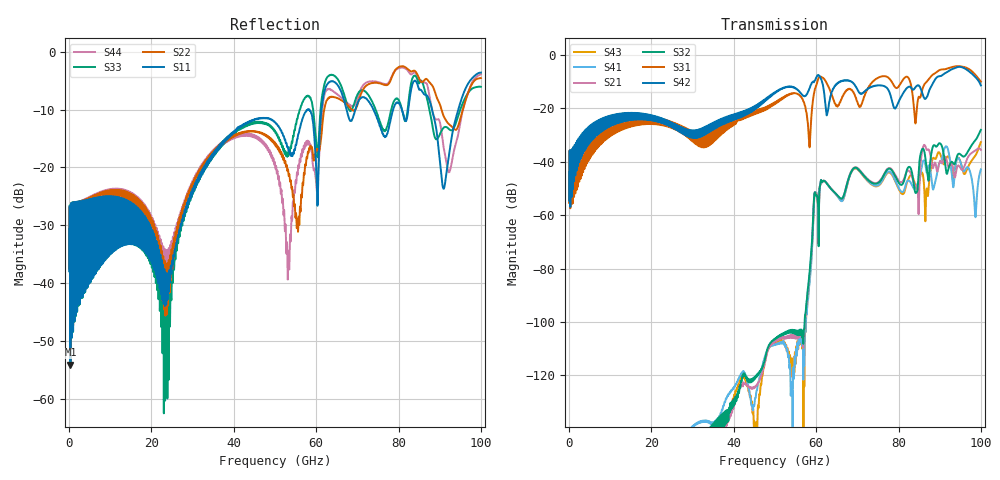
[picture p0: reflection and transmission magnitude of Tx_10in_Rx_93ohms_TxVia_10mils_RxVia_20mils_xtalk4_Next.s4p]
! Info: Touchstone file created by Circ.  Input file=Tx_10in_Rx_93ohms_TxVia_10mils_RxVia_20mils.circ
# Hz S RI R 50
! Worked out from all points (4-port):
!   10000 points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, 10 MHz to 100 GHz, reference 50 ohm
!   strongest paths, dB at 10 MHz, 25.01 GHz, 50.01 GHz, 75.01 GHz, 100 GHz:
!     S42: -54.6, -26.4, -14.0, -11.4, -11.4
!     S31: -55.4, -26.6, -17.9, -8.6, -10.0
!     S32: -, -153.6, -106.4, -48.0, -28.1
!     S21: -, -168.5, -107.3, -47.7, -35.5
!     S41: -154.6, -153.0, -108.5, -48.8, -42.9
!     S43: -155.4, -160.2, -108.2, -49.1, -32.7
!   lowest |S11| = -54.0 dB at 320 MHz (marker M1), VSWR 1.00, Z = 49.8 + j0.0251 ohm
!   |S11| at or under -10 dB: start of sweep to 57.92 GHz; 73.93 GHz to 78.69 GHz (4.755 GHz wide, 6.23 % of centre); 88.13 GHz to 94.51 GHz (6.38 GHz wide, 6.99 % of centre)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
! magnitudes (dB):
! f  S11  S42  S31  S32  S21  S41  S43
! 10 MHz  -37.9  -54.6  -55.4  -  -  -154.6  -155.4
! 320 MHz  -54.0  -47.2  -47.3  -  -  -  -
! 23.75 GHz  -38.4  -26.1  -26.7  -158.5  -180.9  -158.9  -162.3
! 32.68 GHz  -20.5  -29.4  -31.8  -142.2  -150.7  -137.4  -157.6
! 58.01 GHz  -9.9  -13.8  -26.1  -87.4  -88.6  -91.8  -90.8
! 61.55 GHz  -8.6  -10.6  -8.4  -47.4  -47.4  -47.5  -47.5
! 100 GHz  -3.6  -11.4  -10.0  -28.1  -35.5  -42.9  -32.7
